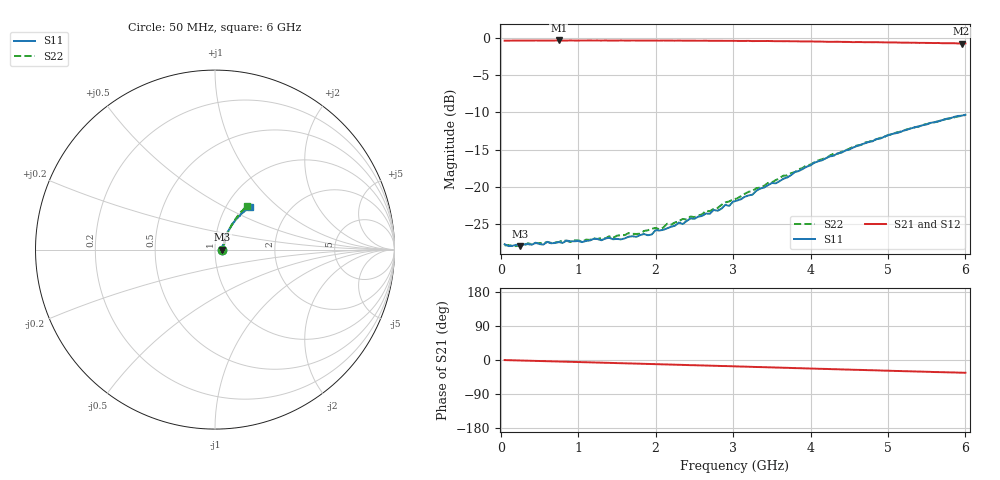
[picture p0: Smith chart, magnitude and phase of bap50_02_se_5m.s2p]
! Created by janssen on Wed Jul 24 13:33:05 METDST 2002
# HZ S MA R 50
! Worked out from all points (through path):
!   120 points, 50 MHz to 6 GHz, reference 50 ohm
!   highest |S21| = -0.32 dB at 750 MHz (marker M1); lowest = -0.7 dB at 5.95 GHz (marker M2)
!   group delay of S21, straight-line fit = 15.8 ps
!   lowest |S11| = -28.0 dB at 250 MHz (marker M3), VSWR 1.08, Z = 54.1 + j0.0349 ohm
!   |S11| at or under -10 dB: start of sweep to end of sweep
!   |S22| runs from -28.0 to -10.4 dB; largest |S21 - S12| = 0.0089
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5e7  0.04103 -3.4  0.9603 -0.2  0.9591 -0.3  0.04032 -3.2
2.5e8  0.03982 0.5  0.9616 -1.3  0.9624 -1.3  0.04062 0.7
7.5e8  0.04244 4.0  0.9636 -4.0  0.9626 -4.1  0.04243 5.2
1.05e9  0.04242 6.4  0.9629 -5.6  0.963 -5.7  0.0427 6.6
1.2e9  0.04466 8.5  0.9629 -6.5  0.9619 -6.5  0.04488 7.9
1.55e9  0.04424 13.5  0.9632 -8.4  0.9613 -8.4  0.04725 13.5
1.8e9  0.04727 19.2  0.9621 -9.8  0.9621 -9.8  0.04829 18.2
1.95e9  0.04772 22.7  0.9619 -10.7  0.9618 -10.7  0.05208 20.8
2e9  0.05104 24.6  0.9613 -10.9  0.9615 -10.9  0.05287 24.3
2.05e9  0.05078 25.2  0.9612 -11.2  0.9613 -11.2  0.05167 24.0
2.15e9  0.05251 28.6  0.9613 -11.8  0.9618 -11.7  0.05636 26.3
2.2e9  0.05381 28.8  0.9617 -12.1  0.9611 -12.1  0.05561 28.3
2.7e9  0.06573 40.9  0.9589 -14.9  0.9587 -14.8  0.0684 39.3
2.75e9  0.06975 40.9  0.9584 -15.2  0.959 -15.2  0.07108 39.0
2.8e9  0.06891 43.2  0.9584 -15.5  0.9599 -15.5  0.07195 40.0
2.9e9  0.07557 44.0  0.9578 -16.0  0.9584 -16.1  0.07842 42.1
2.95e9  0.07425 44.6  0.9582 -16.3  0.9581 -16.3  0.07958 43.3
3.05e9  0.08063 45.1  0.9571 -16.9  0.9572 -16.8  0.08331 43.6
4.05e9  0.1451 55.4  0.948 -22.7  0.9479 -22.6  0.1461 54.8
5.05e9  0.2261 54.6  0.9343 -28.6  0.9363 -28.3  0.2244 55.4
5.95e9  0.3005 50.5  0.9179 -33.5  0.9265 -33.3  0.2995 53.8
6e9  0.3049 50.6  0.9212 -33.7  0.9267 -33.6  0.3037 53.8
